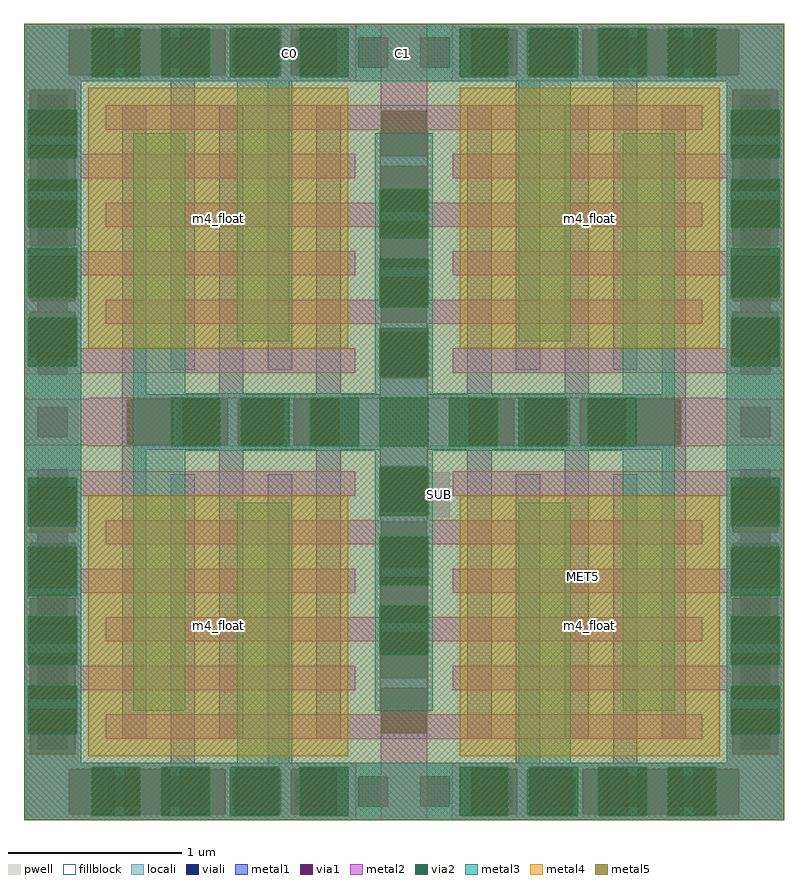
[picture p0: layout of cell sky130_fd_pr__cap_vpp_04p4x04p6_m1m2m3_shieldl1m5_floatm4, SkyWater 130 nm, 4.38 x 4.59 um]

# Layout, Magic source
magic
tech sky130A
magscale 1 2
<< pwell >>
rect 467 350 491 401
<< locali >>
rect 0 902 876 918
rect 0 868 97 902
rect 131 868 169 902
rect 203 868 241 902
rect 275 868 313 902
rect 347 868 385 902
rect 419 868 457 902
rect 491 868 529 902
rect 563 868 601 902
rect 635 868 673 902
rect 707 868 745 902
rect 779 868 876 902
rect 0 836 876 868
rect 0 802 16 836
rect 50 802 826 836
rect 860 802 876 836
rect 0 764 876 802
rect 0 730 16 764
rect 50 730 826 764
rect 860 730 876 764
rect 0 692 876 730
rect 0 658 16 692
rect 50 658 826 692
rect 860 658 876 692
rect 0 620 876 658
rect 0 586 16 620
rect 50 586 826 620
rect 860 586 876 620
rect 0 548 876 586
rect 0 514 16 548
rect 50 514 826 548
rect 860 514 876 548
rect 0 476 876 514
rect 0 442 16 476
rect 50 442 826 476
rect 860 442 876 476
rect 0 404 876 442
rect 0 370 16 404
rect 50 370 826 404
rect 860 370 876 404
rect 0 332 876 370
rect 0 298 16 332
rect 50 298 826 332
rect 860 298 876 332
rect 0 260 876 298
rect 0 226 16 260
rect 50 226 826 260
rect 860 226 876 260
rect 0 188 876 226
rect 0 154 16 188
rect 50 154 826 188
rect 860 154 876 188
rect 0 116 876 154
rect 0 82 16 116
rect 50 82 826 116
rect 860 82 876 116
rect 0 50 876 82
rect 0 16 97 50
rect 131 16 169 50
rect 203 16 241 50
rect 275 16 313 50
rect 347 16 385 50
rect 419 16 457 50
rect 491 16 529 50
rect 563 16 601 50
rect 635 16 673 50
rect 707 16 745 50
rect 779 16 876 50
rect 0 0 876 16
<< viali >>
rect 97 868 131 902
rect 169 868 203 902
rect 241 868 275 902
rect 313 868 347 902
rect 385 868 419 902
rect 457 868 491 902
rect 529 868 563 902
rect 601 868 635 902
rect 673 868 707 902
rect 745 868 779 902
rect 16 802 50 836
rect 826 802 860 836
rect 16 730 50 764
rect 826 730 860 764
rect 16 658 50 692
rect 826 658 860 692
rect 16 586 50 620
rect 826 586 860 620
rect 16 514 50 548
rect 826 514 860 548
rect 16 442 50 476
rect 826 442 860 476
rect 16 370 50 404
rect 826 370 860 404
rect 16 298 50 332
rect 826 298 860 332
rect 16 226 50 260
rect 826 226 860 260
rect 16 154 50 188
rect 826 154 860 188
rect 16 82 50 116
rect 826 82 860 116
rect 97 16 131 50
rect 169 16 203 50
rect 241 16 275 50
rect 313 16 347 50
rect 385 16 419 50
rect 457 16 491 50
rect 529 16 563 50
rect 601 16 635 50
rect 673 16 707 50
rect 745 16 779 50
<< metal1 >>
rect 0 911 876 918
rect 0 859 52 911
rect 104 902 116 911
rect 168 902 180 911
rect 232 902 244 911
rect 168 868 169 902
rect 232 868 241 902
rect 104 859 116 868
rect 168 859 180 868
rect 232 859 244 868
rect 296 859 308 911
rect 360 902 516 911
rect 360 868 385 902
rect 419 868 457 902
rect 491 868 516 902
rect 360 859 516 868
rect 568 859 580 911
rect 632 902 644 911
rect 696 902 708 911
rect 760 902 772 911
rect 635 868 644 902
rect 707 868 708 902
rect 632 859 644 868
rect 696 859 708 868
rect 760 859 772 868
rect 824 859 876 911
rect 0 852 876 859
rect 0 842 66 852
rect 0 790 7 842
rect 59 790 66 842
rect 0 778 66 790
rect 0 726 7 778
rect 59 726 66 778
rect 0 714 66 726
rect 0 662 7 714
rect 59 662 66 714
rect 0 658 16 662
rect 50 658 66 662
rect 0 650 66 658
rect 0 598 7 650
rect 59 598 66 650
rect 0 586 16 598
rect 50 586 66 598
rect 0 534 7 586
rect 59 534 66 586
rect 0 514 16 534
rect 50 514 66 534
rect 0 476 66 514
rect 0 442 16 476
rect 50 442 66 476
rect 0 404 66 442
rect 0 384 16 404
rect 50 384 66 404
rect 0 332 7 384
rect 59 332 66 384
rect 0 320 16 332
rect 50 320 66 332
rect 0 268 7 320
rect 59 268 66 320
rect 0 260 66 268
rect 0 256 16 260
rect 50 256 66 260
rect 0 204 7 256
rect 59 204 66 256
rect 0 192 66 204
rect 0 140 7 192
rect 59 140 66 192
rect 0 128 66 140
rect 0 76 7 128
rect 59 76 66 128
rect 113 491 141 824
rect 169 519 197 852
rect 225 491 253 824
rect 281 519 309 852
rect 337 491 365 824
rect 411 818 465 824
rect 411 766 412 818
rect 464 766 465 818
rect 411 754 465 766
rect 411 702 412 754
rect 464 702 465 754
rect 411 690 465 702
rect 411 638 412 690
rect 464 638 465 690
rect 411 626 465 638
rect 411 574 412 626
rect 464 574 465 626
rect 411 562 465 574
rect 411 510 412 562
rect 464 510 465 562
rect 411 491 465 510
rect 511 491 539 824
rect 567 519 595 852
rect 623 491 651 824
rect 679 519 707 852
rect 810 842 876 852
rect 735 491 763 824
rect 113 485 763 491
rect 113 433 119 485
rect 171 433 183 485
rect 235 433 247 485
rect 299 433 311 485
rect 363 433 513 485
rect 565 433 577 485
rect 629 433 641 485
rect 693 433 705 485
rect 757 433 763 485
rect 113 427 763 433
rect 113 94 141 427
rect 0 66 66 76
rect 169 66 197 399
rect 225 94 253 427
rect 281 66 309 399
rect 337 94 365 427
rect 411 408 465 427
rect 411 356 412 408
rect 464 356 465 408
rect 411 344 465 356
rect 411 292 412 344
rect 464 292 465 344
rect 411 280 465 292
rect 411 228 412 280
rect 464 228 465 280
rect 411 216 465 228
rect 411 164 412 216
rect 464 164 465 216
rect 411 152 465 164
rect 411 100 412 152
rect 464 100 465 152
rect 411 94 465 100
rect 511 94 539 427
rect 567 66 595 399
rect 623 94 651 427
rect 679 66 707 399
rect 735 94 763 427
rect 810 790 817 842
rect 869 790 876 842
rect 810 778 876 790
rect 810 726 817 778
rect 869 726 876 778
rect 810 714 876 726
rect 810 662 817 714
rect 869 662 876 714
rect 810 658 826 662
rect 860 658 876 662
rect 810 650 876 658
rect 810 598 817 650
rect 869 598 876 650
rect 810 586 826 598
rect 860 586 876 598
rect 810 534 817 586
rect 869 534 876 586
rect 810 514 826 534
rect 860 514 876 534
rect 810 476 876 514
rect 810 442 826 476
rect 860 442 876 476
rect 810 404 876 442
rect 810 384 826 404
rect 860 384 876 404
rect 810 332 817 384
rect 869 332 876 384
rect 810 320 826 332
rect 860 320 876 332
rect 810 268 817 320
rect 869 268 876 320
rect 810 260 876 268
rect 810 256 826 260
rect 860 256 876 260
rect 810 204 817 256
rect 869 204 876 256
rect 810 192 876 204
rect 810 140 817 192
rect 869 140 876 192
rect 810 128 876 140
rect 810 76 817 128
rect 869 76 876 128
rect 810 66 876 76
rect 0 59 876 66
rect 0 7 52 59
rect 104 50 116 59
rect 168 50 180 59
rect 232 50 244 59
rect 168 16 169 50
rect 232 16 241 50
rect 104 7 116 16
rect 168 7 180 16
rect 232 7 244 16
rect 296 7 308 59
rect 360 50 516 59
rect 360 16 385 50
rect 419 16 457 50
rect 491 16 516 50
rect 360 7 516 16
rect 568 7 580 59
rect 632 50 644 59
rect 696 50 708 59
rect 760 50 772 59
rect 635 16 644 50
rect 707 16 708 50
rect 632 7 644 16
rect 696 7 708 16
rect 760 7 772 16
rect 824 7 876 59
rect 0 0 876 7
<< via1 >>
rect 52 902 104 911
rect 116 902 168 911
rect 180 902 232 911
rect 244 902 296 911
rect 52 868 97 902
rect 97 868 104 902
rect 116 868 131 902
rect 131 868 168 902
rect 180 868 203 902
rect 203 868 232 902
rect 244 868 275 902
rect 275 868 296 902
rect 52 859 104 868
rect 116 859 168 868
rect 180 859 232 868
rect 244 859 296 868
rect 308 902 360 911
rect 516 902 568 911
rect 308 868 313 902
rect 313 868 347 902
rect 347 868 360 902
rect 516 868 529 902
rect 529 868 563 902
rect 563 868 568 902
rect 308 859 360 868
rect 516 859 568 868
rect 580 902 632 911
rect 644 902 696 911
rect 708 902 760 911
rect 772 902 824 911
rect 580 868 601 902
rect 601 868 632 902
rect 644 868 673 902
rect 673 868 696 902
rect 708 868 745 902
rect 745 868 760 902
rect 772 868 779 902
rect 779 868 824 902
rect 580 859 632 868
rect 644 859 696 868
rect 708 859 760 868
rect 772 859 824 868
rect 7 836 59 842
rect 7 802 16 836
rect 16 802 50 836
rect 50 802 59 836
rect 7 790 59 802
rect 7 764 59 778
rect 7 730 16 764
rect 16 730 50 764
rect 50 730 59 764
rect 7 726 59 730
rect 7 692 59 714
rect 7 662 16 692
rect 16 662 50 692
rect 50 662 59 692
rect 7 620 59 650
rect 7 598 16 620
rect 16 598 50 620
rect 50 598 59 620
rect 7 548 59 586
rect 7 534 16 548
rect 16 534 50 548
rect 50 534 59 548
rect 7 370 16 384
rect 16 370 50 384
rect 50 370 59 384
rect 7 332 59 370
rect 7 298 16 320
rect 16 298 50 320
rect 50 298 59 320
rect 7 268 59 298
rect 7 226 16 256
rect 16 226 50 256
rect 50 226 59 256
rect 7 204 59 226
rect 7 188 59 192
rect 7 154 16 188
rect 16 154 50 188
rect 50 154 59 188
rect 7 140 59 154
rect 7 116 59 128
rect 7 82 16 116
rect 16 82 50 116
rect 50 82 59 116
rect 7 76 59 82
rect 412 766 464 818
rect 412 702 464 754
rect 412 638 464 690
rect 412 574 464 626
rect 412 510 464 562
rect 119 433 171 485
rect 183 433 235 485
rect 247 433 299 485
rect 311 433 363 485
rect 513 433 565 485
rect 577 433 629 485
rect 641 433 693 485
rect 705 433 757 485
rect 412 356 464 408
rect 412 292 464 344
rect 412 228 464 280
rect 412 164 464 216
rect 412 100 464 152
rect 817 836 869 842
rect 817 802 826 836
rect 826 802 860 836
rect 860 802 869 836
rect 817 790 869 802
rect 817 764 869 778
rect 817 730 826 764
rect 826 730 860 764
rect 860 730 869 764
rect 817 726 869 730
rect 817 692 869 714
rect 817 662 826 692
rect 826 662 860 692
rect 860 662 869 692
rect 817 620 869 650
rect 817 598 826 620
rect 826 598 860 620
rect 860 598 869 620
rect 817 548 869 586
rect 817 534 826 548
rect 826 534 860 548
rect 860 534 869 548
rect 817 370 826 384
rect 826 370 860 384
rect 860 370 869 384
rect 817 332 869 370
rect 817 298 826 320
rect 826 298 860 320
rect 860 298 869 320
rect 817 268 869 298
rect 817 226 826 256
rect 826 226 860 256
rect 860 226 869 256
rect 817 204 869 226
rect 817 188 869 192
rect 817 154 826 188
rect 826 154 860 188
rect 860 154 869 188
rect 817 140 869 154
rect 817 116 869 128
rect 817 82 826 116
rect 826 82 860 116
rect 860 82 869 116
rect 817 76 869 82
rect 52 50 104 59
rect 116 50 168 59
rect 180 50 232 59
rect 244 50 296 59
rect 52 16 97 50
rect 97 16 104 50
rect 116 16 131 50
rect 131 16 168 50
rect 180 16 203 50
rect 203 16 232 50
rect 244 16 275 50
rect 275 16 296 50
rect 52 7 104 16
rect 116 7 168 16
rect 180 7 232 16
rect 244 7 296 16
rect 308 50 360 59
rect 516 50 568 59
rect 308 16 313 50
rect 313 16 347 50
rect 347 16 360 50
rect 516 16 529 50
rect 529 16 563 50
rect 563 16 568 50
rect 308 7 360 16
rect 516 7 568 16
rect 580 50 632 59
rect 644 50 696 59
rect 708 50 760 59
rect 772 50 824 59
rect 580 16 601 50
rect 601 16 632 50
rect 644 16 673 50
rect 673 16 696 50
rect 708 16 745 50
rect 745 16 760 50
rect 772 16 779 50
rect 779 16 824 50
rect 580 7 632 16
rect 644 7 696 16
rect 708 7 760 16
rect 772 7 824 16
<< metal2 >>
rect 0 913 383 918
rect 0 911 78 913
rect 134 911 158 913
rect 214 911 238 913
rect 294 911 318 913
rect 0 859 52 911
rect 232 859 238 911
rect 296 859 308 911
rect 0 857 78 859
rect 134 857 158 859
rect 214 857 238 859
rect 294 857 318 859
rect 374 857 383 913
rect 0 852 383 857
rect 0 842 66 852
rect 0 819 7 842
rect 59 819 66 842
rect 411 824 465 918
rect 493 913 876 918
rect 493 857 502 913
rect 558 911 582 913
rect 638 911 662 913
rect 718 911 742 913
rect 798 911 876 913
rect 568 859 580 911
rect 638 859 644 911
rect 824 859 876 911
rect 558 857 582 859
rect 638 857 662 859
rect 718 857 742 859
rect 798 857 876 859
rect 493 852 876 857
rect 810 842 876 852
rect 0 763 5 819
rect 61 768 66 819
rect 94 818 782 824
rect 94 796 412 818
rect 61 763 382 768
rect 0 739 7 763
rect 59 740 382 763
rect 410 766 412 796
rect 464 796 782 818
rect 810 819 817 842
rect 869 819 876 842
rect 464 766 466 796
rect 810 768 815 819
rect 410 754 466 766
rect 59 739 66 740
rect 0 683 5 739
rect 61 683 66 739
rect 410 727 412 754
rect 464 727 466 754
rect 494 763 815 768
rect 871 763 876 819
rect 494 740 817 763
rect 94 684 410 712
rect 810 739 817 740
rect 869 739 876 763
rect 0 662 7 683
rect 59 662 66 683
rect 0 659 66 662
rect 0 603 5 659
rect 61 656 66 659
rect 466 684 782 712
rect 61 628 382 656
rect 410 647 412 671
rect 464 647 466 671
rect 810 683 815 739
rect 871 683 876 739
rect 810 662 817 683
rect 869 662 876 683
rect 810 659 876 662
rect 810 656 815 659
rect 61 603 66 628
rect 0 598 7 603
rect 59 598 66 603
rect 494 628 815 656
rect 0 586 66 598
rect 0 579 7 586
rect 59 579 66 586
rect 0 523 5 579
rect 61 544 66 579
rect 94 591 410 600
rect 810 603 815 628
rect 871 603 876 659
rect 466 591 782 600
rect 94 574 412 591
rect 464 574 782 591
rect 94 572 782 574
rect 810 598 817 603
rect 869 598 876 603
rect 810 586 876 598
rect 810 579 817 586
rect 869 579 876 586
rect 410 567 466 572
rect 61 523 382 544
rect 0 516 382 523
rect 0 514 66 516
rect 810 544 815 579
rect 494 523 815 544
rect 871 523 876 579
rect 494 516 876 523
rect 810 514 876 516
rect 410 510 412 511
rect 464 510 466 511
rect 410 487 466 510
rect 74 486 170 487
rect 0 485 170 486
rect 226 485 250 487
rect 306 485 330 487
rect 0 433 119 485
rect 235 433 247 485
rect 306 433 311 485
rect 0 432 170 433
rect 74 431 170 432
rect 226 431 250 433
rect 306 431 330 433
rect 386 431 410 487
rect 466 431 490 487
rect 546 485 570 487
rect 626 485 650 487
rect 706 486 802 487
rect 706 485 876 486
rect 565 433 570 485
rect 629 433 641 485
rect 757 433 876 485
rect 546 431 570 433
rect 626 431 650 433
rect 706 432 876 433
rect 706 431 802 432
rect 410 408 466 431
rect 410 407 412 408
rect 464 407 466 408
rect 0 402 66 404
rect 0 395 382 402
rect 0 339 5 395
rect 61 374 382 395
rect 61 339 66 374
rect 810 402 876 404
rect 494 395 876 402
rect 494 374 815 395
rect 410 346 466 351
rect 0 332 7 339
rect 59 332 66 339
rect 0 320 66 332
rect 0 315 7 320
rect 59 315 66 320
rect 94 344 782 346
rect 94 327 412 344
rect 464 327 782 344
rect 94 318 410 327
rect 0 259 5 315
rect 61 290 66 315
rect 466 318 782 327
rect 810 339 815 374
rect 871 339 876 395
rect 810 332 817 339
rect 869 332 876 339
rect 810 320 876 332
rect 61 262 382 290
rect 810 315 817 320
rect 869 315 876 320
rect 810 290 815 315
rect 61 259 66 262
rect 0 256 66 259
rect 0 235 7 256
rect 59 235 66 256
rect 0 179 5 235
rect 61 179 66 235
rect 410 247 412 271
rect 464 247 466 271
rect 494 262 815 290
rect 94 206 410 234
rect 810 259 815 262
rect 871 259 876 315
rect 810 256 876 259
rect 810 235 817 256
rect 869 235 876 256
rect 0 155 7 179
rect 59 178 66 179
rect 466 206 782 234
rect 59 155 382 178
rect 0 99 5 155
rect 61 150 382 155
rect 410 164 412 191
rect 464 164 466 191
rect 810 179 815 235
rect 871 179 876 235
rect 810 178 817 179
rect 410 152 466 164
rect 61 99 66 150
rect 410 122 412 152
rect 0 76 7 99
rect 59 76 66 99
rect 94 100 412 122
rect 464 122 466 152
rect 494 155 817 178
rect 869 155 876 179
rect 494 150 815 155
rect 464 100 782 122
rect 94 94 782 100
rect 810 99 815 150
rect 871 99 876 155
rect 0 66 66 76
rect 0 61 383 66
rect 0 59 78 61
rect 134 59 158 61
rect 214 59 238 61
rect 294 59 318 61
rect 0 7 52 59
rect 232 7 238 59
rect 296 7 308 59
rect 0 5 78 7
rect 134 5 158 7
rect 214 5 238 7
rect 294 5 318 7
rect 374 5 383 61
rect 0 0 383 5
rect 411 0 465 94
rect 810 76 817 99
rect 869 76 876 99
rect 810 66 876 76
rect 493 61 876 66
rect 493 5 502 61
rect 558 59 582 61
rect 638 59 662 61
rect 718 59 742 61
rect 798 59 876 61
rect 568 7 580 59
rect 638 7 644 59
rect 824 7 876 59
rect 558 5 582 7
rect 638 5 662 7
rect 718 5 742 7
rect 798 5 876 7
rect 493 0 876 5
<< via2 >>
rect 78 911 134 913
rect 158 911 214 913
rect 238 911 294 913
rect 318 911 374 913
rect 78 859 104 911
rect 104 859 116 911
rect 116 859 134 911
rect 158 859 168 911
rect 168 859 180 911
rect 180 859 214 911
rect 238 859 244 911
rect 244 859 294 911
rect 318 859 360 911
rect 360 859 374 911
rect 78 857 134 859
rect 158 857 214 859
rect 238 857 294 859
rect 318 857 374 859
rect 502 911 558 913
rect 582 911 638 913
rect 662 911 718 913
rect 742 911 798 913
rect 502 859 516 911
rect 516 859 558 911
rect 582 859 632 911
rect 632 859 638 911
rect 662 859 696 911
rect 696 859 708 911
rect 708 859 718 911
rect 742 859 760 911
rect 760 859 772 911
rect 772 859 798 911
rect 502 857 558 859
rect 582 857 638 859
rect 662 857 718 859
rect 742 857 798 859
rect 5 790 7 819
rect 7 790 59 819
rect 59 790 61 819
rect 5 778 61 790
rect 5 763 7 778
rect 7 763 59 778
rect 59 763 61 778
rect 815 790 817 819
rect 817 790 869 819
rect 869 790 871 819
rect 815 778 871 790
rect 5 726 7 739
rect 7 726 59 739
rect 59 726 61 739
rect 5 714 61 726
rect 5 683 7 714
rect 7 683 59 714
rect 59 683 61 714
rect 815 763 817 778
rect 817 763 869 778
rect 869 763 871 778
rect 410 702 412 727
rect 412 702 464 727
rect 464 702 466 727
rect 410 690 466 702
rect 5 650 61 659
rect 410 671 412 690
rect 412 671 464 690
rect 464 671 466 690
rect 5 603 7 650
rect 7 603 59 650
rect 59 603 61 650
rect 815 726 817 739
rect 817 726 869 739
rect 869 726 871 739
rect 815 714 871 726
rect 815 683 817 714
rect 817 683 869 714
rect 869 683 871 714
rect 410 638 412 647
rect 412 638 464 647
rect 464 638 466 647
rect 410 626 466 638
rect 815 650 871 659
rect 5 534 7 579
rect 7 534 59 579
rect 59 534 61 579
rect 410 591 412 626
rect 412 591 464 626
rect 464 591 466 626
rect 815 603 817 650
rect 817 603 869 650
rect 869 603 871 650
rect 410 562 466 567
rect 5 523 61 534
rect 410 511 412 562
rect 412 511 464 562
rect 464 511 466 562
rect 815 534 817 579
rect 817 534 869 579
rect 869 534 871 579
rect 815 523 871 534
rect 170 485 226 487
rect 250 485 306 487
rect 330 485 386 487
rect 170 433 171 485
rect 171 433 183 485
rect 183 433 226 485
rect 250 433 299 485
rect 299 433 306 485
rect 330 433 363 485
rect 363 433 386 485
rect 170 431 226 433
rect 250 431 306 433
rect 330 431 386 433
rect 410 431 466 487
rect 490 485 546 487
rect 570 485 626 487
rect 650 485 706 487
rect 490 433 513 485
rect 513 433 546 485
rect 570 433 577 485
rect 577 433 626 485
rect 650 433 693 485
rect 693 433 705 485
rect 705 433 706 485
rect 490 431 546 433
rect 570 431 626 433
rect 650 431 706 433
rect 5 384 61 395
rect 5 339 7 384
rect 7 339 59 384
rect 59 339 61 384
rect 410 356 412 407
rect 412 356 464 407
rect 464 356 466 407
rect 815 384 871 395
rect 410 351 466 356
rect 5 268 7 315
rect 7 268 59 315
rect 59 268 61 315
rect 410 292 412 327
rect 412 292 464 327
rect 464 292 466 327
rect 815 339 817 384
rect 817 339 869 384
rect 869 339 871 384
rect 5 259 61 268
rect 410 280 466 292
rect 410 271 412 280
rect 412 271 464 280
rect 464 271 466 280
rect 5 204 7 235
rect 7 204 59 235
rect 59 204 61 235
rect 5 192 61 204
rect 5 179 7 192
rect 7 179 59 192
rect 59 179 61 192
rect 815 268 817 315
rect 817 268 869 315
rect 869 268 871 315
rect 410 228 412 247
rect 412 228 464 247
rect 464 228 466 247
rect 815 259 871 268
rect 410 216 466 228
rect 410 191 412 216
rect 412 191 464 216
rect 464 191 466 216
rect 5 140 7 155
rect 7 140 59 155
rect 59 140 61 155
rect 815 204 817 235
rect 817 204 869 235
rect 869 204 871 235
rect 815 192 871 204
rect 815 179 817 192
rect 817 179 869 192
rect 869 179 871 192
rect 5 128 61 140
rect 5 99 7 128
rect 7 99 59 128
rect 59 99 61 128
rect 815 140 817 155
rect 817 140 869 155
rect 869 140 871 155
rect 815 128 871 140
rect 815 99 817 128
rect 817 99 869 128
rect 869 99 871 128
rect 78 59 134 61
rect 158 59 214 61
rect 238 59 294 61
rect 318 59 374 61
rect 78 7 104 59
rect 104 7 116 59
rect 116 7 134 59
rect 158 7 168 59
rect 168 7 180 59
rect 180 7 214 59
rect 238 7 244 59
rect 244 7 294 59
rect 318 7 360 59
rect 360 7 374 59
rect 78 5 134 7
rect 158 5 214 7
rect 238 5 294 7
rect 318 5 374 7
rect 502 59 558 61
rect 582 59 638 61
rect 662 59 718 61
rect 742 59 798 61
rect 502 7 516 59
rect 516 7 558 59
rect 582 7 632 59
rect 632 7 638 59
rect 662 7 696 59
rect 696 7 708 59
rect 708 7 718 59
rect 742 7 760 59
rect 760 7 772 59
rect 772 7 798 59
rect 502 5 558 7
rect 582 5 638 7
rect 662 5 718 7
rect 742 5 798 7
<< metal3 >>
rect 0 913 876 918
rect 0 857 78 913
rect 134 857 158 913
rect 214 857 238 913
rect 294 857 318 913
rect 374 857 502 913
rect 558 857 582 913
rect 638 857 662 913
rect 718 857 742 913
rect 798 857 876 913
rect 0 852 876 857
rect 0 819 66 852
rect 0 763 5 819
rect 61 763 66 819
rect 0 739 66 763
rect 0 683 5 739
rect 61 683 66 739
rect 0 659 66 683
rect 0 603 5 659
rect 61 603 66 659
rect 0 579 66 603
rect 0 523 5 579
rect 61 523 66 579
rect 0 395 66 523
rect 0 339 5 395
rect 61 339 66 395
rect 0 315 66 339
rect 0 259 5 315
rect 61 259 66 315
rect 0 235 66 259
rect 0 179 5 235
rect 61 179 66 235
rect 0 155 66 179
rect 0 99 5 155
rect 61 99 66 155
rect 126 492 186 792
rect 246 552 306 852
rect 405 727 471 792
rect 405 671 410 727
rect 466 671 471 727
rect 405 647 471 671
rect 405 591 410 647
rect 466 591 471 647
rect 405 567 471 591
rect 405 511 410 567
rect 466 511 471 567
rect 570 552 630 852
rect 810 819 876 852
rect 405 492 471 511
rect 690 492 750 792
rect 126 487 750 492
rect 126 431 170 487
rect 226 431 250 487
rect 306 431 330 487
rect 386 431 410 487
rect 466 431 490 487
rect 546 431 570 487
rect 626 431 650 487
rect 706 431 750 487
rect 126 426 750 431
rect 126 126 186 426
rect 405 407 471 426
rect 0 66 66 99
rect 246 66 306 366
rect 405 351 410 407
rect 466 351 471 407
rect 405 327 471 351
rect 405 271 410 327
rect 466 271 471 327
rect 405 247 471 271
rect 405 191 410 247
rect 466 191 471 247
rect 405 126 471 191
rect 570 66 630 366
rect 690 126 750 426
rect 810 763 815 819
rect 871 763 876 819
rect 810 739 876 763
rect 810 683 815 739
rect 871 683 876 739
rect 810 659 876 683
rect 810 603 815 659
rect 871 603 876 659
rect 810 579 876 603
rect 810 523 815 579
rect 871 523 876 579
rect 810 395 876 523
rect 810 339 815 395
rect 871 339 876 395
rect 810 315 876 339
rect 810 259 815 315
rect 871 259 876 315
rect 810 235 876 259
rect 810 179 815 235
rect 871 179 876 235
rect 810 155 876 179
rect 810 99 815 155
rect 871 99 876 155
rect 810 66 876 99
rect 0 61 876 66
rect 0 5 78 61
rect 134 5 158 61
rect 214 5 238 61
rect 294 5 318 61
rect 374 5 502 61
rect 558 5 582 61
rect 638 5 662 61
rect 718 5 742 61
rect 798 5 876 61
rect 0 0 876 5
<< metal4 >>
rect 74 544 374 844
rect 502 544 802 844
rect 74 74 374 374
rect 502 74 802 374
<< metal5 >>
rect 0 0 876 918
<< fillblock >>
rect 0 0 876 918
<< labels >>
flabel comment s 652 694 652 694 2 FreeSans 200 0 0 0 m4_float
flabel comment s 652 224 652 224 2 FreeSans 200 0 0 0 m4_float
flabel comment s 224 694 224 694 2 FreeSans 200 0 0 0 m4_float
flabel comment s 224 224 224 224 2 FreeSans 200 0 0 0 m4_float
flabel metal5 s 601 233 688 328 0 FreeSans 200 0 0 0 MET5
port 3 nsew
flabel metal2 s 292 870 319 897 0 FreeSans 200 0 0 0 C0
port 1 nsew
flabel metal2 s 421 868 451 900 0 FreeSans 200 0 0 0 C1
port 2 nsew
flabel pwell s 467 350 491 401 0 FreeSans 200 0 0 0 SUB
port 4 nsew
<< properties >>
string GDS_FILE $PDKPATH/libs.ref/sky130_fd_pr/gds/sky130_fd_pr.gds
string GDS_END 216966
string GDS_START 202134
<< end >>
